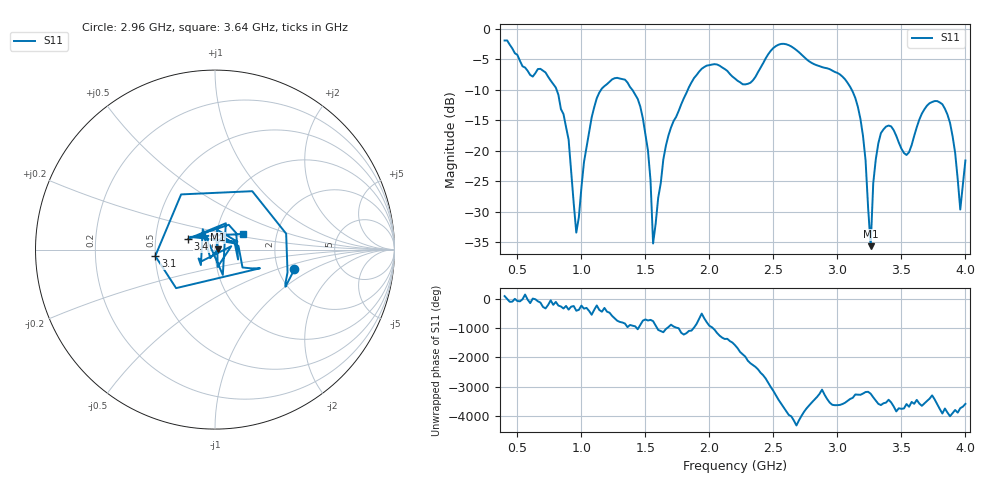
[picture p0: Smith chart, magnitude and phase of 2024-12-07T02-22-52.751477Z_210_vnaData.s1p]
!Created with skrf (http://scikit-rf.org).
# Hz S RI R 50.0
!freq ReS11 ImS11
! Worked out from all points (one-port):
!   181 points, 400 MHz to 4 GHz, reference 50 ohm
!   lowest |S11| = -35.7 dB at 3.26 GHz (marker M1), VSWR 1.03, Z = 51.7 + j0.0973 ohm
!   |S11| at or under -10 dB: 806.5 MHz to 1.153 GHz (346.5 MHz wide, 35.4 % of centre); 1.398 GHz to 1.831 GHz (432.8 MHz wide, 26.8 % of centre); 3.112 GHz to end of sweep
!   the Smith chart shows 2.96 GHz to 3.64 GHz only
!   S11 on the Smith chart (normalised r, x): 2.96 GHz: 2.45, -0.68; 3.1 GHz: 0.50, -0.04; 3.4 GHz: 0.74, +0.09; 3.64 GHz: 1.35, +0.24
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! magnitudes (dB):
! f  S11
! 400 MHz  -1.9
! 720 MHz  -7.1
! 860 MHz  -14.0
! 900 MHz  -18.1
! 960 MHz  -33.4
! 1.1 GHz  -12.9
! 1.3 GHz  -8.1
! 1.48 GHz  -14.7
! 1.54 GHz  -24.8
! 1.56 GHz  -35.2
! 1.66 GHz  -19.2
! 1.76 GHz  -13.4
! 1.96 GHz  -6.2
! 2.2 GHz  -8.1
! 2.66 GHz  -3.2
! 2.96 GHz  -6.8
! 3.1 GHz  -9.5
! 3.2 GHz  -17.6
! 3.26 GHz  -35.7
! 3.28 GHz  -25.3
! 3.3 GHz  -21.4
! 3.4 GHz  -15.9
! 3.56 GHz  -20.2
! 3.64 GHz  -14.9
! 3.84 GHz  -13.1
! 3.92 GHz  -20.3
! 3.96 GHz  -29.6
! 4 GHz  -21.6
